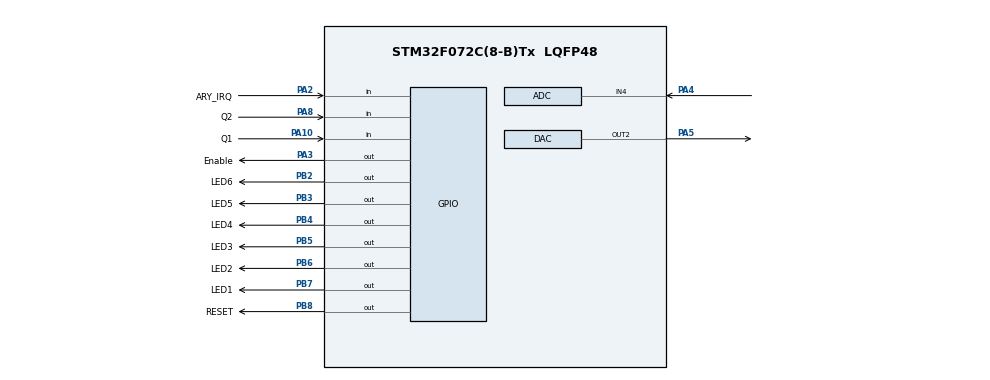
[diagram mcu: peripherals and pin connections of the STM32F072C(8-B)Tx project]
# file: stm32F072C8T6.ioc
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DAC.DAC_OutputBuffer2=DAC_OUTPUTBUFFER_ENABLE
Mcu.Family=STM32F0
Mcu.Name=STM32F072C(8-B)Tx
Mcu.Package=LQFP48
PA10.GPIO_Label=Q1
PA10.Signal=GPIO_Input
PA2.GPIO_Label=ARY_IRQ
PA2.Signal=GPIO_Input
PA3.GPIO_Label=Enable
PA3.Signal=GPIO_Output
PA4.Mode=IN4
PA4.Signal=ADC_IN4
PA5.Signal=COMP_DAC2_group
PA8.GPIO_Label=Q2
PA8.Signal=GPIO_Input
PB2.GPIO_Label=LED6
PB2.Signal=GPIO_Output
PB3.GPIO_Label=LED5
PB3.Signal=GPIO_Output
PB4.GPIO_Label=LED4
PB4.Signal=GPIO_Output
PB5.GPIO_Label=LED3
PB5.Signal=GPIO_Output
PB6.GPIO_Label=LED2
PB6.Signal=GPIO_Output
PB7.GPIO_Label=LED1
PB7.Signal=GPIO_Output
PB8.GPIO_Label=RESET
PB8.Signal=GPIO_Output
ProjectManager.HeapSize=0x200
ProjectManager.StackSize=0x400
ProjectManager.TargetToolchain=STM32CubeIDE
SH.COMP_DAC2_group.0=DAC_OUT2,DAC_OUT2
board=custom

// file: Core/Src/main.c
/* USER CODE BEGIN Header */
/**
 ******************************************************************************
 * @file           : main.c
 * @brief          : Main program body
 ******************************************************************************
 * @attention
 *
 * Copyright (c) 2024 STMicroelectronics.
 * All rights reserved.
 *
 * This software is licensed under terms that can be found in the LICENSE file
 * in the root directory of this software component.
 * If no LICENSE file comes with this software, it is provided AS-IS.
 *
 ******************************************************************************
 */
/* USER CODE END Header */
#include "main.h"

ADC_HandleTypeDef hadc;

DAC_HandleTypeDef hdac;

void SystemClock_Config(void);
static void MX_GPIO_Init(void);
static void MX_ADC_Init(void);
static void MX_DAC_Init(void);

/* USER CODE BEGIN 0 */
float readAdc() {
	HAL_ADC_Start(&hadc);
	if (HAL_ADC_PollForConversion(&hadc, 100) == HAL_OK) {
		uint32_t value = HAL_ADC_GetValue(&hadc);
		return (value * VREF) / ADC_RESOLUTION;
	}

	return 0;
}

void writeDac(float voltage) {
	uint32_t dac_value;
	float Vref = 3.3f; // Опорное напряжение ЦАП
	uint32_t DAC_Resolution = 4096; // 12-битный ЦАП
	dac_value = (uint32_t) ((voltage / Vref) * (DAC_Resolution - 1));
	HAL_DAC_Start(&hdac, DAC_CHANNEL_2);
	HAL_DAC_SetValue(&hdac, DAC_CHANNEL_2, DAC_ALIGN_12B_R, dac_value);
	dac_value = HAL_DAC_GetValue(&hdac, DAC_CHANNEL_2);

}
typedef struct {
	float dacVoltage;
	int ledLevel;
	float corVoltage;
} SignalLevel;

#define NUM 10
// Определение уровней сигнала и соответствующих значений напряжения ЦАП
SignalLevel levels[] = { { 0.036, 1, 0 }, // -40 RSSI
		{ 0.04, 2, 0 }, // -15 RSSI
		{ 0.058, 3, 0 }, // -10 RSSI //выключить АРУ
		{ 0.062, 4, 0.13 },  // -5 RSSI //включить АРУ
		{ 0.074, 5, 0.1 },  // 0 RSSI
		{ 0.117, 6, 0.1 }    // +5 RSSI
};
int levelsCount = sizeof(levels) / sizeof(SignalLevel);

void CheckSignalLevel() {
	int i = levelsCount - 1;

	for (; i >= 0; i--) {

		writeDac(levels[i].dacVoltage); // Установка напряжения ЦАП
		HAL_GPIO_WritePin(RESET_GPIO_Port, RESET_Pin, 1);
		HAL_Delay(10); // Задержка для стабилизации сигнала
		HAL_GPIO_WritePin(RESET_GPIO_Port, RESET_Pin, 0);
		int result = HAL_GPIO_ReadPin(Q1_GPIO_Port, Q1_Pin);
		if (result == 1) {
			for (int i = 0; i < NUM; i++) {
				HAL_Delay(10); // Задержка для стабилизации сигнала

				if (HAL_GPIO_ReadPin(Q1_GPIO_Port, Q1_Pin))
					result++;
			}
			// Установка уровня светодиодов
			if (result >= NUM)
				break; // Прекращаем цикл, если детектирован соответствующий уровень сигнала
		} else {
			for (int i = 0; i < NUM; i++) {
				HAL_Delay(10); // Задержка для стабилизации сигнала

				if (!HAL_GPIO_ReadPin(Q1_GPIO_Port, Q1_Pin))
					result++;
			}
			// Установка уровня светодиодов
			if (result < NUM - 1)
				break; // Прекращаем цикл, если детектирован соответствующий уровень сигнала
		}
	}
	SetLedsLevel(levels[i].ledLevel);
}

/* USER CODE END 0 */

int main(void) {

	/* MCU Configuration--------------------------------------------------------*/

	/* Reset of all peripherals, Initializes the Flash interface and the Systick. */
	HAL_Init();

	/* Configure the system clock */
	SystemClock_Config();

	/* Initialize all configured peripherals */
	MX_GPIO_Init();
	MX_ADC_Init();
	MX_DAC_Init();
	/* USER CODE BEGIN 2 */

	//  HAL_GPIO_WritePin(RESET_GPIO_Port, RESET_Pin, 0);
	HAL_GPIO_WritePin(Enable_GPIO_Port, Enable_Pin, 1);
	HAL_GPIO_WritePin(RESET_GPIO_Port, RESET_Pin, 1);
	HAL_GPIO_WritePin(RESET_GPIO_Port, RESET_Pin, 0);
	/* USER CODE END 2 */

	/* Infinite loop */
	/* USER CODE BEGIN WHILE */
	int leds = 0;

	writeDac(3); //-20 0.029; -15 0.044; -10 0.075; -5 0.13; 0 0.23; +5 0.41

	while (1) {
		//HAL_Delay(1500);
		if (HAL_GPIO_ReadPin(ARY_IRQ_GPIO_Port, ARY_IRQ_Pin) == 1) {
			writeDac(0.5);
			HAL_GPIO_WritePin(LED1_GPIO_Port, LED1_Pin, 1);
		} else {
			writeDac(3);
			HAL_GPIO_WritePin(LED1_GPIO_Port, LED1_Pin, 0);
		}

	//
	/* USER CODE END WHILE */

}
}

void SystemClock_Config(void) {
RCC_OscInitTypeDef RCC_OscInitStruct = { 0 };
RCC_ClkInitTypeDef RCC_ClkInitStruct = { 0 };

/** Initializes the RCC Oscillators according to the specified parameters
 * in the RCC_OscInitTypeDef structure.
 */
RCC_OscInitStruct.OscillatorType = RCC_OSCILLATORTYPE_HSI
		| RCC_OSCILLATORTYPE_HSI14;
RCC_OscInitStruct.HSIState = RCC_HSI_ON;
RCC_OscInitStruct.HSI14State = RCC_HSI14_ON;
RCC_OscInitStruct.HSICalibrationValue = RCC_HSICALIBRATION_DEFAULT;
RCC_OscInitStruct.HSI14CalibrationValue = 16;
RCC_OscInitStruct.PLL.PLLState = RCC_PLL_NONE;
if (HAL_RCC_OscConfig(&RCC_OscInitStruct) != HAL_OK) {
	Error_Handler();
}

/** Initializes the CPU, AHB and APB buses clocks
 */
RCC_ClkInitStruct.ClockType = RCC_CLOCKTYPE_HCLK | RCC_CLOCKTYPE_SYSCLK
		| RCC_CLOCKTYPE_PCLK1;
RCC_ClkInitStruct.SYSCLKSource = RCC_SYSCLKSOURCE_HSI;
RCC_ClkInitStruct.AHBCLKDivider = RCC_SYSCLK_DIV1;
RCC_ClkInitStruct.APB1CLKDivider = RCC_HCLK_DIV1;

if (HAL_RCC_ClockConfig(&RCC_ClkInitStruct, FLASH_LATENCY_0) != HAL_OK) {
	Error_Handler();
}
}

static void MX_ADC_Init(void) {

ADC_ChannelConfTypeDef sConfig = { 0 };

/** Configure the global features of the ADC (Clock, Resolution, Data Alignment and number of conversion)
 */
hadc.Instance = ADC1;
hadc.Init.ClockPrescaler = ADC_CLOCK_ASYNC_DIV1;
hadc.Init.Resolution = ADC_RESOLUTION_12B;
hadc.Init.DataAlign = ADC_DATAALIGN_RIGHT;
hadc.Init.ScanConvMode = ADC_SCAN_DIRECTION_FORWARD;
hadc.Init.EOCSelection = ADC_EOC_SINGLE_CONV;
hadc.Init.LowPowerAutoWait = DISABLE;
hadc.Init.LowPowerAutoPowerOff = DISABLE;
hadc.Init.ContinuousConvMode = DISABLE;
hadc.Init.DiscontinuousConvMode = DISABLE;
hadc.Init.ExternalTrigConv = ADC_SOFTWARE_START;
hadc.Init.ExternalTrigConvEdge = ADC_EXTERNALTRIGCONVEDGE_NONE;
hadc.Init.DMAContinuousRequests = DISABLE;
hadc.Init.Overrun = ADC_OVR_DATA_PRESERVED;
if (HAL_ADC_Init(&hadc) != HAL_OK) {
	Error_Handler();
}

/** Configure for the selected ADC regular channel to be converted.
 */
sConfig.Channel = ADC_CHANNEL_4;
sConfig.Rank = ADC_RANK_CHANNEL_NUMBER;
sConfig.SamplingTime = ADC_SAMPLETIME_1CYCLE_5;
if (HAL_ADC_ConfigChannel(&hadc, &sConfig) != HAL_OK) {
	Error_Handler();
}

}

static void MX_DAC_Init(void) {

DAC_ChannelConfTypeDef sConfig = { 0 };

/** DAC Initialization
 */
hdac.Instance = DAC;
if (HAL_DAC_Init(&hdac) != HAL_OK) {
	Error_Handler();
}

/** DAC channel OUT2 config
 */
sConfig.DAC_Trigger = DAC_TRIGGER_NONE;
sConfig.DAC_OutputBuffer = DAC_OUTPUTBUFFER_ENABLE;
if (HAL_DAC_ConfigChannel(&hdac, &sConfig, DAC_CHANNEL_2) != HAL_OK) {
	Error_Handler();
}

}

static void MX_GPIO_Init(void) {
GPIO_InitTypeDef GPIO_InitStruct = { 0 };

/* GPIO Ports Clock Enable */
__HAL_RCC_GPIOA_CLK_ENABLE();
__HAL_RCC_GPIOB_CLK_ENABLE();

/*Configure GPIO pin Output Level */
HAL_GPIO_WritePin(Enable_GPIO_Port, Enable_Pin, GPIO_PIN_RESET);

/*Configure GPIO pin Output Level */
HAL_GPIO_WritePin(GPIOB,
		LED6_Pin | LED5_Pin | LED4_Pin | LED3_Pin | LED2_Pin | LED1_Pin
				| RESET_Pin, GPIO_PIN_RESET);

/*Configure GPIO pins : ARY_IRQ_Pin Q2_Pin Q1_Pin */
GPIO_InitStruct.Pin = ARY_IRQ_Pin | Q2_Pin | Q1_Pin;
GPIO_InitStruct.Mode = GPIO_MODE_INPUT;
GPIO_InitStruct.Pull = GPIO_NOPULL;
HAL_GPIO_Init(GPIOA, &GPIO_InitStruct);

/*Configure GPIO pin : Enable_Pin */
GPIO_InitStruct.Pin = Enable_Pin;
GPIO_InitStruct.Mode = GPIO_MODE_OUTPUT_PP;
GPIO_InitStruct.Pull = GPIO_NOPULL;
GPIO_InitStruct.Speed = GPIO_SPEED_FREQ_LOW;
HAL_GPIO_Init(Enable_GPIO_Port, &GPIO_InitStruct);

/*Configure GPIO pins : LED6_Pin LED5_Pin LED4_Pin LED3_Pin
 LED2_Pin LED1_Pin RESET_Pin */
GPIO_InitStruct.Pin = LED6_Pin | LED5_Pin | LED4_Pin | LED3_Pin | LED2_Pin
		| LED1_Pin | RESET_Pin;
GPIO_InitStruct.Mode = GPIO_MODE_OUTPUT_PP;
GPIO_InitStruct.Pull = GPIO_NOPULL;
GPIO_InitStruct.Speed = GPIO_SPEED_FREQ_LOW;
HAL_GPIO_Init(GPIOB, &GPIO_InitStruct);

}

void Error_Handler(void) {
__disable_irq();
while (1) {
}
}
